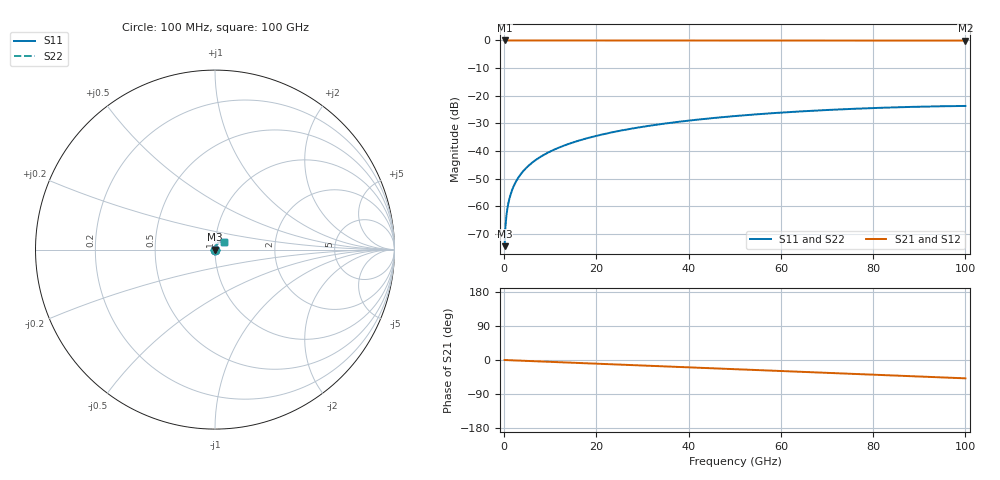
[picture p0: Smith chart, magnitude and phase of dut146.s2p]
! Touchstone file exported from HFSS 2026.1.0
!  File:  C:/ffzhzh/LocalFiles/Ansys_Project_Files/temp_train_TSV_146_1783506532_31944.aedt
!  Generated:  06:30:01 PM Jul  8, 2026
!  Design:  TSV
!  Project:  temp_train_TSV_146_1783506532_31944
! Variables:
!  h_bsmrdl = 2um
!  h_ox = 20um
!  h_rdl = 5um
!  h_sub = 97.09um
!  h_tmrdl = 5um
!  h_tsv = 97.09um
!  h_via = 3um
!  l_bsmrdl = 300um
!  l_sub = 422.2um
!  l_tmrdl = 200um
!  m_sub = 200um
!  pitch = 51.02um
!  r_tsv = 11.1um
!  s_tmrdl = 10um
!  w_bsmrdl = 18um
!  w_sub = 500um
!  w_tmrdl = 12um
!  x_tsv_center1 = 206um
!  x_tsv_center2 = 524um
!  x_tsv_center3 = 736um
!  x_tsv_center4 = 1054um
!  x_tsv_center5 = 1266um
!  x_tsv_center6 = 1584um
# GHz S MA R 50.000000
! Terminal data exported
! Port[1] = TSV1_1_T1
! Port[2] = TSV1_1_T2
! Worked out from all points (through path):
!   1000 points, 100 MHz to 100 GHz, reference 50 ohm
!   highest |S21| = 0.00 dB at 100 MHz (marker M1); lowest = 0.0 dB at 100 GHz (marker M2)
!   group delay of S21, straight-line fit = 1.34 ps
!   lowest |S11| = -74.5 dB at 100 MHz (marker M3), VSWR 1.00, Z = 50 + j0.0142 ohm
!   |S11| at or under -10 dB: start of sweep to end of sweep
!   |S22| runs from -74.5 to -23.7 dB; largest |S21 - S12| = 3.3e-15
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0.1  0.0001889 48.9  0.9999 -0.1  0.9999 -0.1  0.0001889 48.9
! Gamma 0 0 0 0
! Port Impedance 50 0 50 0
0.3  0.0004417 68.6  0.9998 -0.2  0.9998 -0.2  0.0004417 68.6
0.7  0.0009086 73.4  0.9997 -0.4  0.9997 -0.4  0.0009086 73.4
0.8  0.001016 74.0  0.9997 -0.4  0.9997 -0.4  0.001016 74.0
1  0.001224 74.9  0.9997 -0.5  0.9997 -0.5  0.001224 74.9
1.3  0.001531 76.1  0.9996 -0.6  0.9996 -0.6  0.001531 76.1
1.8  0.002034 77.5  0.9996 -0.9  0.9996 -0.9  0.002034 77.5
2.4  0.00263 78.5  0.9995 -1.2  0.9995 -1.2  0.00263 78.5
3.1  0.003314 79.1  0.9995 -1.5  0.9995 -1.5  0.003314 79.1
3.9  0.004083 79.6  0.9994 -1.9  0.9994 -1.9  0.004083 79.6
4.9  0.005032 79.9  0.9993 -2.4  0.9993 -2.4  0.005032 79.9
6.1  0.006161 80.0  0.9992 -3.0  0.9992 -3.0  0.006161 80.0
8.9  0.008766 79.7  0.999 -4.3  0.999 -4.3  0.008766 79.7
12.4  0.01197 78.7  0.9988 -6.0  0.9988 -6.0  0.01197 78.7
16.8  0.01593 77.2  0.9986 -8.2  0.9986 -8.2  0.01593 77.2
24.2  0.02241 74.4  0.9982 -11.7  0.9982 -11.7  0.02241 74.4
33.4  0.03014 70.5  0.9977 -16.2  0.9977 -16.2  0.03014 70.5
41.3  0.03639 67.0  0.9973 -20.0  0.9973 -20.0  0.03639 67.0
50.1  0.04285 62.9  0.9969 -24.2  0.9969 -24.2  0.04285 63.0
66.7  0.05331 55.2  0.996 -32.3  0.996 -32.3  0.05331 55.3
83.4  0.06106 47.4  0.9952 -40.3  0.9952 -40.3  0.06105 47.4
100  0.06525 39.5  0.9945 -48.4  0.9945 -48.4  0.06525 39.6
